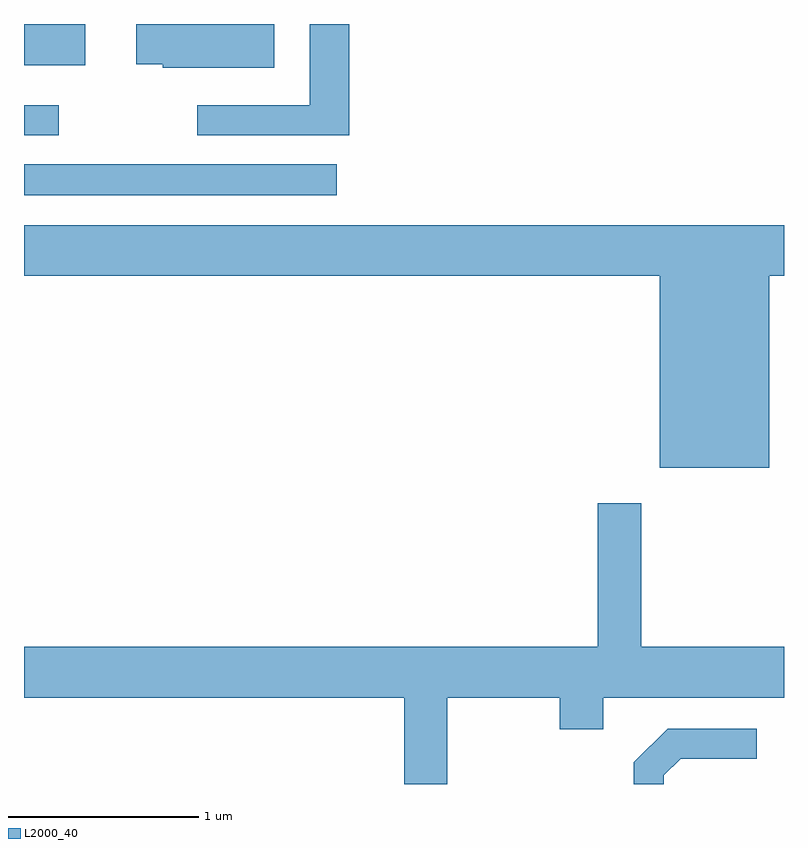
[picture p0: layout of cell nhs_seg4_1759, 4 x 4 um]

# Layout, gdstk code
import gdstk
lib = gdstk.Library(unit=1e-6, precision=1e-09)
def R(c, l, rs):  # rectangles x0, y0, x1, y1
    for r in rs: c.add(gdstk.rectangle(r[:2], r[2:], *l))
def P(c, l, *ps):  # polygons
    for p in ps: c.add(gdstk.Polygon(p, *l))
L2000_40 = (2000, 40)

nhs_seg4_1759 = lib.new_cell('nhs_seg4_1759')
R(nhs_seg4_1759, L2000_40, [(235.611,1375.081,237.258,1375.244), (235.611,1375.396,235.793,1375.554), (235.611,1375.766,235.934,1375.982)])
P(nhs_seg4_1759, L2000_40, [(236.929,1375.982),(236.201,1375.982),(236.201,1375.771),(236.341,1375.771),(236.341,1375.751),(236.929,1375.751)],
  [(237.324,1375.982),(237.116,1375.982),(237.116,1375.554),(236.523,1375.554),(236.523,1375.396),(237.324,1375.396)],
  [(239.534,1374.656),(239.611,1374.656),(239.611,1374.924),(235.611,1374.924),(235.611,1374.656),(238.956,1374.656),(238.956,1373.646),(239.534,1373.646)],
  [(237.839,1372.436),(238.431,1372.436),(238.431,1372.271),(238.659,1372.271),(238.659,1372.436),(239.611,1372.436),(239.611,1372.704),(238.859,1372.704),(238.859,1373.459),(238.631,1373.459),(238.631,1372.704),(235.611,1372.704),(235.611,1372.436),(237.611,1372.436),(237.611,1371.982),(237.839,1371.982)],
  [(238.979,1372.029),(239.067,1372.116),(239.468,1372.116),(239.468,1372.274),(238.999,1372.274),(238.821,1372.097),(238.821,1371.982),(238.979,1371.982)])

lib.write_gds('nhs_seg4_1759.gds')
